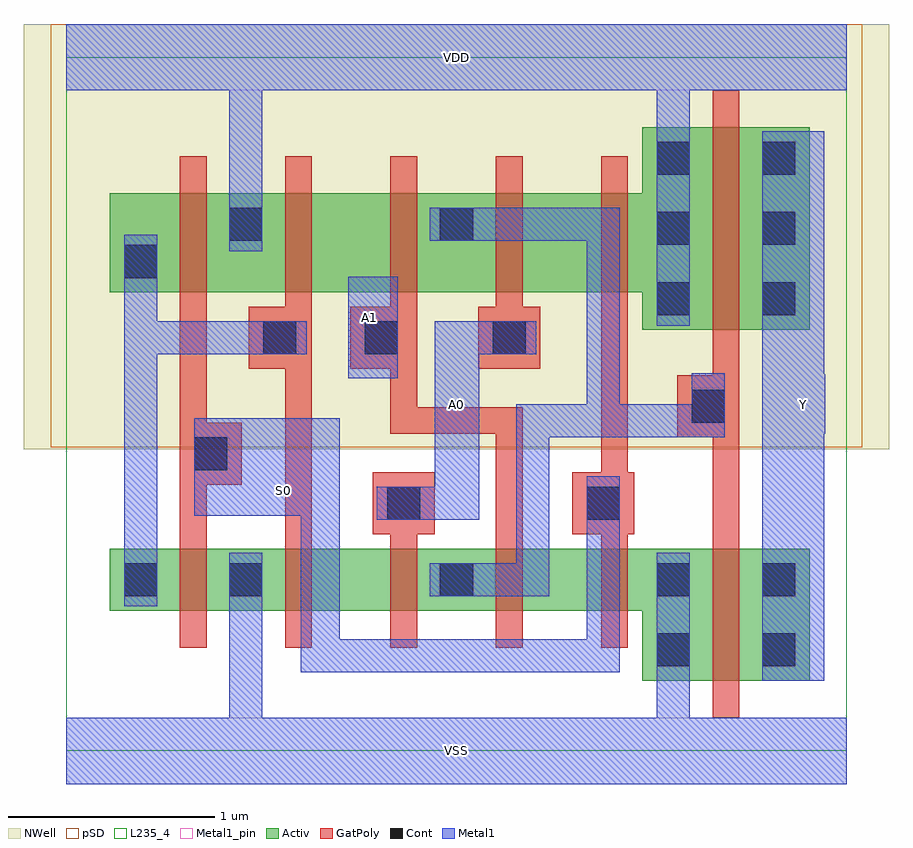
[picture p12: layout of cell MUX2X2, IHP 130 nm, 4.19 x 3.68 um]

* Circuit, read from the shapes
.subckt MUX2X2 A0 A1 S0 VDD VSS Y
XM1 VSS S0 n1 VSUBS sg13_lv_nmos w=0.3u l=0.13u
XM2 n2 n1 VSS VSUBS sg13_lv_nmos w=0.3u l=0.13u
XM3 n3 A0 n2 VSUBS sg13_lv_nmos w=0.3u l=0.13u
XM4 n4 A1 n3 VSUBS sg13_lv_nmos w=0.3u l=0.13u
XM5 VSS S0 n4 VSUBS sg13_lv_nmos w=0.3u l=0.13u
XM6 Y n3 VSS VSUBS sg13_lv_nmos w=0.64u l=0.13u
XM7 VDD S0 n1 n5 sg13_lv_pmos w=0.48u l=0.13u
XM8 n6 n1 VDD n5 sg13_lv_pmos w=0.48u l=0.13u
XM9 n3 A1 n6 n5 sg13_lv_pmos w=0.48u l=0.13u
XM10 n7 A0 n3 n5 sg13_lv_pmos w=0.48u l=0.13u
XM11 VDD S0 n7 n5 sg13_lv_pmos w=0.48u l=0.13u
XM12 Y n3 VDD n5 sg13_lv_pmos w=0.98u l=0.13u
.ends

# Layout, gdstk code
import gdstk
lib = gdstk.Library(unit=1e-6, precision=1e-09)
def R(c, l, rs):  # rectangles x0, y0, x1, y1
    for r in rs: c.add(gdstk.rectangle(r[:2], r[2:], *l))
def A(c, l, x, y, w, h, nx, ny, dx, dy):  # array of equal rectangles
    R(c, l, [(x+i*dx, y+j*dy, x+i*dx+w, y+j*dy+h) for i in range(nx) for j in range(ny)])
def P(c, l, *ps):  # polygons
    for p in ps: c.add(gdstk.Polygon(p, *l))
Activ = (1, 0)
GatPoly = (5, 0)
Cont = (6, 0)
Metal1 = (8, 0)
Metal1_pin = (8, 2)
pSD = (14, 0)
NWell = (31, 0)
L235_4 = (235, 4)

mux2x2 = lib.new_cell('MUX2X2')
P(mux2x2, Activ, [(2.79,0.34),(2.79,0.68),(0.21,0.68),(0.21,0.98),(3.6,0.98),(3.6,0.34)],
  [(2.79,2.04),(2.79,2.22),(0.21,2.22),(0.21,2.7),(2.79,2.7),(2.79,3.02),(3.6,3.02),(3.6,2.04)])
P(mux2x2, GatPoly, [(3.13,0.16),(3.13,1.52),(2.96,1.52),(2.96,1.82),(3.13,1.82),(3.13,3.2),(3.26,3.2),(3.26,0.16)],
  [(2.59,0.5),(2.59,1.05),(2.45,1.05),(2.45,1.35),(2.59,1.35),(2.59,2.88),(2.72,2.88),(2.72,1.35),(2.75,1.35),(2.75,1.05),(2.72,1.05),(2.72,0.5)],
  [(1.995,1.85),(1.995,2.15),(2.08,2.15),(2.08,2.88),(2.21,2.88),(2.21,2.15),(2.295,2.15),(2.295,1.85)],
  [(2.08,0.5),(2.08,1.535),(1.57,1.535),(1.57,1.85),(1.375,1.85),(1.375,2.15),(1.57,2.15),(1.57,2.88),(1.7,2.88),(1.7,1.665),(2.21,1.665),(2.21,0.5)],
  [(1.57,0.5),(1.57,1.05),(1.485,1.05),(1.485,1.35),(1.785,1.35),(1.785,1.05),(1.7,1.05),(1.7,0.5)],
  [(1.06,0.5),(1.06,1.85),(0.885,1.85),(0.885,2.15),(1.06,2.15),(1.06,2.88),(1.19,2.88),(1.19,0.5)],
  [(0.55,0.5),(0.55,2.88),(0.68,2.88),(0.68,1.59),(0.85,1.59),(0.85,1.29),(0.68,1.29),(0.68,0.5)])
A(mux2x2, Cont, 2.86, 2.11, 0.16, 0.16, 1, 3, 0, 0.34)
A(mux2x2, Cont, 3.37, 2.11, 0.16, 0.16, 1, 3, 0, 0.34)
R(mux2x2, Cont, [(2.86,0.41,3.02,0.57), (3.37,0.41,3.53,0.57), (0.28,0.75,0.44,0.91), (0.79,0.75,0.95,0.91), (1.81,0.75,1.97,0.91), (2.86,0.75,3.02,0.91), (3.37,0.75,3.53,0.91), (1.555,1.12,1.715,1.28), (2.52,1.12,2.68,1.28), (0.62,1.36,0.78,1.52), (3.03,1.59,3.19,1.75), (0.955,1.92,1.115,2.08), (1.445,1.92,1.605,2.08), (2.065,1.92,2.225,2.08), (0.28,2.29,0.44,2.45), (0.79,2.47,0.95,2.63), (1.81,2.47,1.97,2.63)])
R(mux2x2, Metal1, [(1.365,1.805,1.605,2.295)])
P(mux2x2, Metal1, [(0,-0.16),(0,0.16),(0.79,0.16),(0.79,0.96),(0.95,0.96),(0.95,0.16),(2.86,0.16),(2.86,0.96),(3.02,0.96),(3.02,0.16),(3.78,0.16),(3.78,-0.16)],
  [(2.86,2.06),(2.86,3.2),(0.95,3.2),(0.95,2.42),(0.79,2.42),(0.79,3.2),(0,3.2),(0,3.52),(3.78,3.52),(3.78,3.2),(3.02,3.2),(3.02,2.06)],
  [(3.37,0.34),(3.37,3),(3.67,3),(3.67,1.825),(3.675,1.825),(3.675,1.535),(3.67,1.535),(3.67,0.34)],
  [(1.76,0.75),(1.76,0.91),(2.18,0.91),(2.18,1.68),(2.52,1.68),(2.52,2.47),(1.76,2.47),(1.76,2.63),(2.68,2.63),(2.68,1.68),(3.03,1.68),(3.03,1.83),(3.19,1.83),(3.19,1.52),(2.34,1.52),(2.34,0.75)],
  [(1.135,0.38),(1.135,1.14),(0.62,1.14),(0.62,1.61),(1.325,1.61),(1.325,0.54),(2.52,0.54),(2.52,1.33),(2.68,1.33),(2.68,0.38)],
  [(1.505,1.12),(1.505,1.28),(1.785,1.28),(1.785,2.08),(2.275,2.08),(2.275,1.92),(2,1.92),(2,1.12)],
  [(0.28,0.7),(0.28,2.5),(0.44,2.5),(0.44,2.08),(1.165,2.08),(1.165,1.92),(0.44,1.92),(0.44,0.7)])
R(mux2x2, Metal1_pin, [(0,-0.16,3.78,0.16), (1.365,1.805,1.605,2.295), (0,3.2,3.78,3.52)])
P(mux2x2, Metal1_pin, [(3.37,0.34),(3.37,3),(3.67,3),(3.67,1.825),(3.675,1.825),(3.675,1.535),(3.67,1.535),(3.67,0.34)],
  [(1.135,0.38),(1.135,1.14),(0.62,1.14),(0.62,1.61),(1.325,1.61),(1.325,0.54),(2.52,0.54),(2.52,1.33),(2.68,1.33),(2.68,0.38)],
  [(1.505,1.12),(1.505,1.28),(1.785,1.28),(1.785,2.08),(2.275,2.08),(2.275,1.92),(2,1.92),(2,1.12)])
R(mux2x2, pSD, [(-0.075,1.47,3.855,3.52)])
R(mux2x2, NWell, [(-0.205,1.46,3.985,3.52)])
R(mux2x2, L235_4, [(0,0,3.78,3.36)])
mux2x2.add(gdstk.Label('A0', (1.89,1.68), layer=8, texttype=25))
mux2x2.add(gdstk.Label('VSS', (1.89,0), layer=8, texttype=25))
mux2x2.add(gdstk.Label('S0', (1.05,1.26), layer=8, texttype=25))
mux2x2.add(gdstk.Label('VDD', (1.89,3.36), layer=8, texttype=25))
mux2x2.add(gdstk.Label('A1', (1.47,2.1), layer=8, texttype=25))
mux2x2.add(gdstk.Label('Y', (3.57,1.68), layer=8, texttype=25))

lib.write_gds('MUX2X2.gds')
